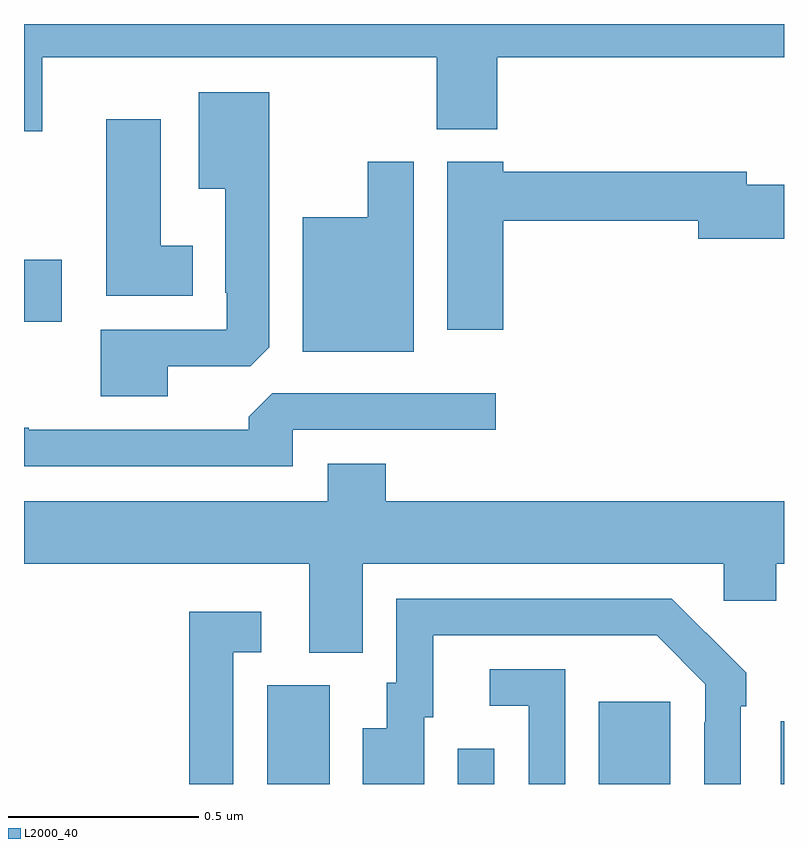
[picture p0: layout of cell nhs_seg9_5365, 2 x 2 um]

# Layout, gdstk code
import gdstk
lib = gdstk.Library(unit=1e-6, precision=1e-09)
def R(c, l, rs):  # rectangles x0, y0, x1, y1
    for r in rs: c.add(gdstk.rectangle(r[:2], r[2:], *l))
def P(c, l, *ps):  # polygons
    for p in ps: c.add(gdstk.Polygon(p, *l))
L2000_40 = (2000, 40)

nhs_seg9_5365 = lib.new_cell('nhs_seg9_5365')
R(nhs_seg9_5365, L2000_40, [(178.64,1202.5,178.804,1202.76), (179.142,1202.5,179.238,1202.593), (179.513,1202.5,179.701,1202.716), (179.991,1202.5,180,1202.665), (178,1203.716,178.099,1203.879)])
P(nhs_seg9_5365, L2000_40, [(178.048,1204.412),(179.086,1204.412),(179.086,1204.223),(179.246,1204.223),(179.246,1204.412),(180,1204.412),(180,1204.5),(178,1204.5),(178,1204.218),(178.048,1204.218)],
  [(178.378,1203.6),(178.596,1203.6),(178.645,1203.649),(178.645,1204.321),(178.46,1204.321),(178.46,1204.067),(178.529,1204.067),(178.529,1203.793),(178.533,1203.793),(178.533,1203.696),(178.202,1203.696),(178.202,1203.521),(178.378,1203.521)],
  [(178.444,1203.916),(178.36,1203.916),(178.36,1204.249),(178.217,1204.249),(178.217,1203.785),(178.444,1203.785)],
  [(179.026,1204.138),(178.904,1204.138),(178.904,1203.991),(178.733,1203.991),(178.733,1203.638),(179.026,1203.638)],
  [(179.261,1203.982),(179.774,1203.982),(179.774,1203.935),(180,1203.935),(180,1204.077),(179.902,1204.077),(179.902,1204.111),(179.261,1204.111),(179.261,1204.138),(179.114,1204.138),(179.114,1203.696),(179.261,1203.696)],
  [(178.707,1203.432),(179.242,1203.432),(179.242,1203.528),(178.653,1203.528),(178.592,1203.466),(178.592,1203.432),(178.012,1203.432),(178.012,1203.437),(178,1203.437),(178,1203.336),(178.707,1203.336)],
  [(178.891,1203.08),(179.841,1203.08),(179.841,1202.982),(179.98,1202.982),(179.98,1203.08),(180,1203.08),(180,1203.244),(178.952,1203.244),(178.952,1203.343),(178.799,1203.343),(178.799,1203.244),(178,1203.244),(178,1203.08),(178.751,1203.08),(178.751,1202.845),(178.891,1202.845)],
  [(179.053,1202.676),(179.077,1202.676),(179.077,1202.892),(179.665,1202.892),(179.793,1202.763),(179.793,1202.663),(179.79,1202.663),(179.79,1202.5),(179.886,1202.5),(179.886,1202.705),(179.901,1202.705),(179.901,1202.793),(179.796,1202.898),(179.795,1202.897),(179.704,1202.988),(178.98,1202.988),(178.98,1202.766),(178.955,1202.766),(178.955,1202.647),(178.892,1202.647),(178.892,1202.5),(179.053,1202.5)],
  [(178.551,1202.847),(178.624,1202.847),(178.624,1202.953),(178.435,1202.953),(178.435,1202.5),(178.551,1202.5)],
  [(179.424,1202.802),(179.226,1202.802),(179.226,1202.706),(179.328,1202.706),(179.328,1202.5),(179.424,1202.5)])

lib.write_gds('nhs_seg9_5365.gds')
